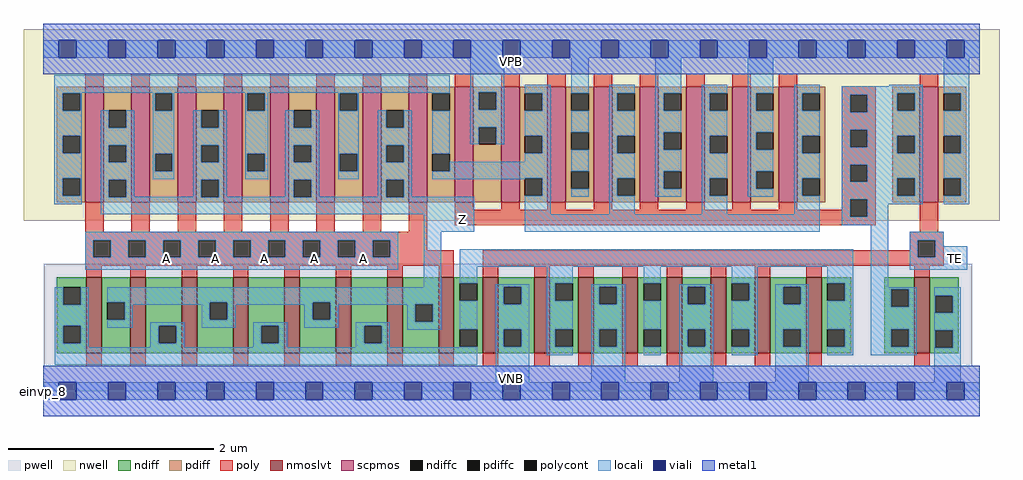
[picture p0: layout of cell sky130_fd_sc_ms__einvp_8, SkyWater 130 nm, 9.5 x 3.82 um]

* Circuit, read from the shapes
.subckt sky130_fd_sc_ms__einvp_8 A TE VGND VNB VPB VPWR Z
XM1 Z A n1 VNB sky130_fd_pr__nfet_01v8_lvt w=0.74 l=0.15 m=8
XM2 VGND TE n1 VNB sky130_fd_pr__nfet_01v8_lvt w=0.74 l=0.15 m=8
XM3 VGND TE n2 VNB sky130_fd_pr__nfet_01v8_lvt w=0.74 l=0.15
XM4 Z A n3 VPB sky130_fd_pr__pfet_01v8 w=1.12 l=0.18 m=8
XM5 VPWR n2 n3 VPB sky130_fd_pr__pfet_01v8 w=1.12 l=0.18 m=8
XM6 VPWR TE n2 VPB sky130_fd_pr__pfet_01v8 w=1.12 l=0.18
.ends

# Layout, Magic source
magic
tech sky130A
magscale 1 2
<< nwell >>
rect -38 332 1862 704
<< pwell >>
rect 1 49 1809 248
rect 0 0 1824 49
<< scpmos >>
rect 82 368 118 592
rect 172 368 208 592
rect 262 368 298 592
rect 352 368 388 592
rect 442 368 478 592
rect 532 368 568 592
rect 622 368 658 592
rect 712 368 748 592
rect 802 368 838 592
rect 892 368 928 592
rect 982 368 1018 592
rect 1072 368 1108 592
rect 1162 368 1198 592
rect 1252 368 1288 592
rect 1342 368 1378 592
rect 1432 368 1468 592
rect 1707 368 1743 592
<< nmoslvt >>
rect 84 74 114 222
rect 170 74 200 222
rect 270 74 300 222
rect 370 74 400 222
rect 470 74 500 222
rect 570 74 600 222
rect 670 74 700 222
rect 770 74 800 222
rect 856 74 886 222
rect 956 74 986 222
rect 1042 74 1072 222
rect 1128 74 1158 222
rect 1214 74 1244 222
rect 1300 74 1330 222
rect 1386 74 1416 222
rect 1486 74 1516 222
rect 1696 74 1726 222
<< ndiff >>
rect 27 202 84 222
rect 27 168 39 202
rect 73 168 84 202
rect 27 127 84 168
rect 27 93 39 127
rect 73 93 84 127
rect 27 74 84 93
rect 114 173 170 222
rect 114 139 125 173
rect 159 139 170 173
rect 114 74 170 139
rect 200 127 270 222
rect 200 93 225 127
rect 259 93 270 127
rect 200 74 270 93
rect 300 173 370 222
rect 300 139 325 173
rect 359 139 370 173
rect 300 74 370 139
rect 400 127 470 222
rect 400 93 425 127
rect 459 93 470 127
rect 400 74 470 93
rect 500 173 570 222
rect 500 139 525 173
rect 559 139 570 173
rect 500 74 570 139
rect 600 127 670 222
rect 600 93 625 127
rect 659 93 670 127
rect 600 74 670 93
rect 700 169 770 222
rect 700 135 725 169
rect 759 135 770 169
rect 700 74 770 135
rect 800 210 856 222
rect 800 176 811 210
rect 845 176 856 210
rect 800 120 856 176
rect 800 86 811 120
rect 845 86 856 120
rect 800 74 856 86
rect 886 203 956 222
rect 886 169 897 203
rect 931 169 956 203
rect 886 120 956 169
rect 886 86 897 120
rect 931 86 956 120
rect 886 74 956 86
rect 986 210 1042 222
rect 986 176 997 210
rect 1031 176 1042 210
rect 986 120 1042 176
rect 986 86 997 120
rect 1031 86 1042 120
rect 986 74 1042 86
rect 1072 203 1128 222
rect 1072 169 1083 203
rect 1117 169 1128 203
rect 1072 120 1128 169
rect 1072 86 1083 120
rect 1117 86 1128 120
rect 1072 74 1128 86
rect 1158 210 1214 222
rect 1158 176 1169 210
rect 1203 176 1214 210
rect 1158 120 1214 176
rect 1158 86 1169 120
rect 1203 86 1214 120
rect 1158 74 1214 86
rect 1244 203 1300 222
rect 1244 169 1255 203
rect 1289 169 1300 203
rect 1244 120 1300 169
rect 1244 86 1255 120
rect 1289 86 1300 120
rect 1244 74 1300 86
rect 1330 210 1386 222
rect 1330 176 1341 210
rect 1375 176 1386 210
rect 1330 120 1386 176
rect 1330 86 1341 120
rect 1375 86 1386 120
rect 1330 74 1386 86
rect 1416 203 1486 222
rect 1416 169 1441 203
rect 1475 169 1486 203
rect 1416 120 1486 169
rect 1416 86 1441 120
rect 1475 86 1486 120
rect 1416 74 1486 86
rect 1516 210 1573 222
rect 1516 176 1527 210
rect 1561 176 1573 210
rect 1516 120 1573 176
rect 1516 86 1527 120
rect 1561 86 1573 120
rect 1516 74 1573 86
rect 1638 198 1696 222
rect 1638 164 1651 198
rect 1685 164 1696 198
rect 1638 120 1696 164
rect 1638 86 1651 120
rect 1685 86 1696 120
rect 1638 74 1696 86
rect 1726 186 1783 222
rect 1726 152 1737 186
rect 1771 152 1783 186
rect 1726 118 1783 152
rect 1726 84 1737 118
rect 1771 84 1783 118
rect 1726 74 1783 84
<< pdiff >>
rect 27 580 82 592
rect 27 546 38 580
rect 72 546 82 580
rect 27 497 82 546
rect 27 463 38 497
rect 72 463 82 497
rect 27 414 82 463
rect 27 380 38 414
rect 72 380 82 414
rect 27 368 82 380
rect 118 547 172 592
rect 118 513 128 547
rect 162 513 172 547
rect 118 479 172 513
rect 118 445 128 479
rect 162 445 172 479
rect 118 411 172 445
rect 118 377 128 411
rect 162 377 172 411
rect 118 368 172 377
rect 208 580 262 592
rect 208 546 218 580
rect 252 546 262 580
rect 208 462 262 546
rect 208 428 218 462
rect 252 428 262 462
rect 208 368 262 428
rect 298 547 352 592
rect 298 513 308 547
rect 342 513 352 547
rect 298 479 352 513
rect 298 445 308 479
rect 342 445 352 479
rect 298 411 352 445
rect 298 377 308 411
rect 342 377 352 411
rect 298 368 352 377
rect 388 580 442 592
rect 388 546 398 580
rect 432 546 442 580
rect 388 462 442 546
rect 388 428 398 462
rect 432 428 442 462
rect 388 368 442 428
rect 478 547 532 592
rect 478 513 488 547
rect 522 513 532 547
rect 478 479 532 513
rect 478 445 488 479
rect 522 445 532 479
rect 478 411 532 445
rect 478 377 488 411
rect 522 377 532 411
rect 478 368 532 377
rect 568 580 622 592
rect 568 546 578 580
rect 612 546 622 580
rect 568 462 622 546
rect 568 428 578 462
rect 612 428 622 462
rect 568 368 622 428
rect 658 547 712 592
rect 658 513 668 547
rect 702 513 712 547
rect 658 479 712 513
rect 658 445 668 479
rect 702 445 712 479
rect 658 411 712 445
rect 658 377 668 411
rect 702 377 712 411
rect 658 368 712 377
rect 748 580 802 592
rect 748 546 758 580
rect 792 546 802 580
rect 748 462 802 546
rect 748 428 758 462
rect 792 428 802 462
rect 748 368 802 428
rect 838 582 892 592
rect 838 548 848 582
rect 882 548 892 582
rect 838 514 892 548
rect 838 480 848 514
rect 882 480 892 514
rect 838 368 892 480
rect 928 580 982 592
rect 928 546 938 580
rect 972 546 982 580
rect 928 497 982 546
rect 928 463 938 497
rect 972 463 982 497
rect 928 414 982 463
rect 928 380 938 414
rect 972 380 982 414
rect 928 368 982 380
rect 1018 580 1072 592
rect 1018 546 1028 580
rect 1062 546 1072 580
rect 1018 504 1072 546
rect 1018 470 1028 504
rect 1062 470 1072 504
rect 1018 428 1072 470
rect 1018 394 1028 428
rect 1062 394 1072 428
rect 1018 368 1072 394
rect 1108 580 1162 592
rect 1108 546 1118 580
rect 1152 546 1162 580
rect 1108 497 1162 546
rect 1108 463 1118 497
rect 1152 463 1162 497
rect 1108 414 1162 463
rect 1108 380 1118 414
rect 1152 380 1162 414
rect 1108 368 1162 380
rect 1198 580 1252 592
rect 1198 546 1208 580
rect 1242 546 1252 580
rect 1198 504 1252 546
rect 1198 470 1208 504
rect 1242 470 1252 504
rect 1198 428 1252 470
rect 1198 394 1208 428
rect 1242 394 1252 428
rect 1198 368 1252 394
rect 1288 580 1342 592
rect 1288 546 1298 580
rect 1332 546 1342 580
rect 1288 497 1342 546
rect 1288 463 1298 497
rect 1332 463 1342 497
rect 1288 414 1342 463
rect 1288 380 1298 414
rect 1332 380 1342 414
rect 1288 368 1342 380
rect 1378 580 1432 592
rect 1378 546 1388 580
rect 1422 546 1432 580
rect 1378 504 1432 546
rect 1378 470 1388 504
rect 1422 470 1432 504
rect 1378 428 1432 470
rect 1378 394 1388 428
rect 1422 394 1432 428
rect 1378 368 1432 394
rect 1468 580 1523 592
rect 1468 546 1478 580
rect 1512 546 1523 580
rect 1468 497 1523 546
rect 1468 463 1478 497
rect 1512 463 1523 497
rect 1468 414 1523 463
rect 1468 380 1478 414
rect 1512 380 1523 414
rect 1468 368 1523 380
rect 1653 580 1707 592
rect 1653 546 1663 580
rect 1697 546 1707 580
rect 1653 497 1707 546
rect 1653 463 1663 497
rect 1697 463 1707 497
rect 1653 414 1707 463
rect 1653 380 1663 414
rect 1697 380 1707 414
rect 1653 368 1707 380
rect 1743 580 1797 592
rect 1743 546 1753 580
rect 1787 546 1797 580
rect 1743 497 1797 546
rect 1743 463 1753 497
rect 1787 463 1797 497
rect 1743 414 1797 463
rect 1743 380 1753 414
rect 1787 380 1797 414
rect 1743 368 1797 380
<< ndiffc >>
rect 39 168 73 202
rect 39 93 73 127
rect 125 139 159 173
rect 225 93 259 127
rect 325 139 359 173
rect 425 93 459 127
rect 525 139 559 173
rect 625 93 659 127
rect 725 135 759 169
rect 811 176 845 210
rect 811 86 845 120
rect 897 169 931 203
rect 897 86 931 120
rect 997 176 1031 210
rect 997 86 1031 120
rect 1083 169 1117 203
rect 1083 86 1117 120
rect 1169 176 1203 210
rect 1169 86 1203 120
rect 1255 169 1289 203
rect 1255 86 1289 120
rect 1341 176 1375 210
rect 1341 86 1375 120
rect 1441 169 1475 203
rect 1441 86 1475 120
rect 1527 176 1561 210
rect 1527 86 1561 120
rect 1651 164 1685 198
rect 1651 86 1685 120
rect 1737 152 1771 186
rect 1737 84 1771 118
<< pdiffc >>
rect 38 546 72 580
rect 38 463 72 497
rect 38 380 72 414
rect 128 513 162 547
rect 128 445 162 479
rect 128 377 162 411
rect 218 546 252 580
rect 218 428 252 462
rect 308 513 342 547
rect 308 445 342 479
rect 308 377 342 411
rect 398 546 432 580
rect 398 428 432 462
rect 488 513 522 547
rect 488 445 522 479
rect 488 377 522 411
rect 578 546 612 580
rect 578 428 612 462
rect 668 513 702 547
rect 668 445 702 479
rect 668 377 702 411
rect 758 546 792 580
rect 758 428 792 462
rect 848 548 882 582
rect 848 480 882 514
rect 938 546 972 580
rect 938 463 972 497
rect 938 380 972 414
rect 1028 546 1062 580
rect 1028 470 1062 504
rect 1028 394 1062 428
rect 1118 546 1152 580
rect 1118 463 1152 497
rect 1118 380 1152 414
rect 1208 546 1242 580
rect 1208 470 1242 504
rect 1208 394 1242 428
rect 1298 546 1332 580
rect 1298 463 1332 497
rect 1298 380 1332 414
rect 1388 546 1422 580
rect 1388 470 1422 504
rect 1388 394 1422 428
rect 1478 546 1512 580
rect 1478 463 1512 497
rect 1478 380 1512 414
rect 1663 546 1697 580
rect 1663 463 1697 497
rect 1663 380 1697 414
rect 1753 546 1787 580
rect 1753 463 1787 497
rect 1753 380 1787 414
<< poly >>
rect 82 592 118 618
rect 172 592 208 618
rect 262 592 298 618
rect 352 592 388 618
rect 442 592 478 618
rect 532 592 568 618
rect 622 592 658 618
rect 712 592 748 618
rect 802 592 838 618
rect 892 592 928 618
rect 982 592 1018 618
rect 1072 592 1108 618
rect 1162 592 1198 618
rect 1252 592 1288 618
rect 1342 592 1378 618
rect 1432 592 1468 618
rect 1555 577 1621 593
rect 1707 592 1743 618
rect 1555 543 1571 577
rect 1605 543 1621 577
rect 1555 509 1621 543
rect 1555 475 1571 509
rect 1605 475 1621 509
rect 1555 441 1621 475
rect 1555 407 1571 441
rect 1605 407 1621 441
rect 1555 373 1621 407
rect 82 310 118 368
rect 172 310 208 368
rect 262 310 298 368
rect 352 310 388 368
rect 442 310 478 368
rect 532 310 568 368
rect 622 310 658 368
rect 712 310 748 368
rect 802 353 838 368
rect 892 353 928 368
rect 982 353 1018 368
rect 1072 353 1108 368
rect 1162 353 1198 368
rect 1252 353 1288 368
rect 1342 353 1378 368
rect 1432 353 1468 368
rect 1555 353 1571 373
rect 802 339 1571 353
rect 1605 339 1621 373
rect 802 323 1621 339
rect 1707 310 1743 368
rect 82 294 748 310
rect 82 260 98 294
rect 132 260 166 294
rect 200 260 234 294
rect 268 260 302 294
rect 336 260 370 294
rect 404 260 438 294
rect 472 260 506 294
rect 540 260 574 294
rect 608 260 642 294
rect 676 274 748 294
rect 1687 294 1753 310
rect 1687 274 1703 294
rect 676 260 800 274
rect 82 244 800 260
rect 84 222 114 244
rect 170 222 200 244
rect 270 222 300 244
rect 370 222 400 244
rect 470 222 500 244
rect 570 222 600 244
rect 670 222 700 244
rect 770 222 800 244
rect 856 260 1703 274
rect 1737 260 1753 294
rect 856 244 1753 260
rect 856 222 886 244
rect 956 222 986 244
rect 1042 222 1072 244
rect 1128 222 1158 244
rect 1214 222 1244 244
rect 1300 222 1330 244
rect 1386 222 1416 244
rect 1486 222 1516 244
rect 1696 222 1726 244
rect 84 48 114 74
rect 170 48 200 74
rect 270 48 300 74
rect 370 48 400 74
rect 470 48 500 74
rect 570 48 600 74
rect 670 48 700 74
rect 770 48 800 74
rect 856 48 886 74
rect 956 48 986 74
rect 1042 48 1072 74
rect 1128 48 1158 74
rect 1214 48 1244 74
rect 1300 48 1330 74
rect 1386 48 1416 74
rect 1486 48 1516 74
rect 1696 48 1726 74
<< polycont >>
rect 1571 543 1605 577
rect 1571 475 1605 509
rect 1571 407 1605 441
rect 1571 339 1605 373
rect 98 260 132 294
rect 166 260 200 294
rect 234 260 268 294
rect 302 260 336 294
rect 370 260 404 294
rect 438 260 472 294
rect 506 260 540 294
rect 574 260 608 294
rect 642 260 676 294
rect 1703 260 1737 294
<< locali >>
rect 0 649 31 683
rect 65 649 127 683
rect 161 649 223 683
rect 257 649 319 683
rect 353 649 415 683
rect 449 649 511 683
rect 545 649 607 683
rect 641 649 703 683
rect 737 649 799 683
rect 833 649 895 683
rect 929 649 991 683
rect 1025 649 1087 683
rect 1121 649 1183 683
rect 1217 649 1279 683
rect 1313 649 1375 683
rect 1409 649 1471 683
rect 1505 649 1567 683
rect 1601 649 1663 683
rect 1697 649 1759 683
rect 1793 649 1824 683
rect 22 581 792 615
rect 22 580 75 581
rect 22 546 38 580
rect 72 546 75 580
rect 214 580 255 581
rect 22 497 75 546
rect 22 463 38 497
rect 72 463 75 497
rect 22 414 75 463
rect 22 380 38 414
rect 72 380 75 414
rect 22 364 75 380
rect 112 513 128 547
rect 162 513 178 547
rect 112 479 178 513
rect 112 445 128 479
rect 162 445 178 479
rect 112 411 178 445
rect 214 546 218 580
rect 252 546 255 580
rect 394 580 438 581
rect 214 462 255 546
rect 214 428 218 462
rect 252 428 255 462
rect 214 412 255 428
rect 292 513 308 547
rect 342 513 358 547
rect 292 479 358 513
rect 292 445 308 479
rect 342 445 358 479
rect 112 377 128 411
rect 162 378 178 411
rect 292 411 358 445
rect 394 546 398 580
rect 432 546 438 580
rect 575 580 615 581
rect 394 462 438 546
rect 394 428 398 462
rect 432 428 438 462
rect 394 412 438 428
rect 472 513 488 547
rect 522 513 538 547
rect 472 479 538 513
rect 472 445 488 479
rect 522 445 538 479
rect 292 378 308 411
rect 162 377 308 378
rect 342 378 358 411
rect 472 411 538 445
rect 575 546 578 580
rect 612 546 615 580
rect 758 580 792 581
rect 575 462 615 546
rect 575 428 578 462
rect 612 428 615 462
rect 575 412 615 428
rect 652 513 668 547
rect 702 513 718 547
rect 652 479 718 513
rect 652 445 668 479
rect 702 445 718 479
rect 472 378 488 411
rect 342 377 488 378
rect 522 378 538 411
rect 652 411 718 445
rect 758 462 792 546
rect 832 582 898 649
rect 832 548 848 582
rect 882 548 898 582
rect 832 514 898 548
rect 832 480 848 514
rect 882 480 898 514
rect 938 580 988 596
rect 972 546 988 580
rect 938 497 988 546
rect 972 463 988 497
rect 938 446 988 463
rect 792 428 988 446
rect 758 414 988 428
rect 758 412 938 414
rect 652 378 668 411
rect 522 377 668 378
rect 702 378 718 411
rect 972 380 988 414
rect 702 377 839 378
rect 112 344 839 377
rect 741 310 839 344
rect 938 344 988 380
rect 1028 580 1062 649
rect 1028 504 1062 546
rect 1028 428 1062 470
rect 1028 378 1062 394
rect 1102 580 1152 596
rect 1102 546 1118 580
rect 1102 497 1152 546
rect 1102 463 1118 497
rect 1102 414 1152 463
rect 1102 380 1118 414
rect 1102 344 1152 380
rect 1192 580 1242 649
rect 1192 546 1208 580
rect 1192 504 1242 546
rect 1192 470 1208 504
rect 1192 428 1242 470
rect 1192 394 1208 428
rect 1192 378 1242 394
rect 1282 580 1332 596
rect 1282 546 1298 580
rect 1282 497 1332 546
rect 1282 463 1298 497
rect 1282 414 1332 463
rect 1282 380 1298 414
rect 1282 344 1332 380
rect 1372 580 1422 649
rect 1372 546 1388 580
rect 1372 504 1422 546
rect 1372 470 1388 504
rect 1372 428 1422 470
rect 1372 394 1388 428
rect 1372 378 1422 394
rect 1462 580 1512 596
rect 1647 593 1713 596
rect 1462 546 1478 580
rect 1462 497 1512 546
rect 1462 463 1478 497
rect 1462 414 1512 463
rect 1462 380 1478 414
rect 1462 344 1512 380
rect 938 310 1512 344
rect 1555 580 1713 593
rect 1555 577 1663 580
rect 1555 543 1571 577
rect 1605 546 1663 577
rect 1697 546 1713 580
rect 1605 543 1713 546
rect 1555 509 1713 543
rect 1555 475 1571 509
rect 1605 497 1713 509
rect 1605 475 1663 497
rect 1555 463 1663 475
rect 1697 463 1713 497
rect 1555 441 1713 463
rect 1555 407 1571 441
rect 1605 414 1713 441
rect 1605 407 1663 414
rect 1555 380 1663 407
rect 1697 380 1713 414
rect 1555 373 1713 380
rect 1555 339 1571 373
rect 1605 364 1713 373
rect 1753 580 1803 649
rect 1787 546 1803 580
rect 1753 497 1803 546
rect 1787 463 1803 497
rect 1753 414 1803 463
rect 1787 380 1803 414
rect 1753 364 1803 380
rect 1605 339 1645 364
rect 1555 323 1645 339
rect 82 294 692 310
rect 82 260 98 294
rect 132 260 166 294
rect 200 260 234 294
rect 268 260 302 294
rect 336 260 370 294
rect 404 260 438 294
rect 472 260 506 294
rect 540 260 574 294
rect 608 260 642 294
rect 676 260 692 294
rect 82 236 692 260
rect 741 202 775 310
rect 23 168 39 202
rect 73 168 89 202
rect 23 127 89 168
rect 23 93 39 127
rect 73 93 89 127
rect 125 173 775 202
rect 159 168 325 173
rect 159 139 175 168
rect 125 123 175 139
rect 309 139 325 168
rect 359 168 525 173
rect 359 139 375 168
rect 209 127 275 134
rect 23 85 89 93
rect 209 93 225 127
rect 259 93 275 127
rect 309 123 375 139
rect 509 139 525 168
rect 559 169 775 173
rect 559 168 725 169
rect 559 139 575 168
rect 409 127 475 134
rect 209 85 275 93
rect 409 93 425 127
rect 459 93 475 127
rect 509 123 575 139
rect 709 135 725 168
rect 759 135 775 169
rect 609 127 675 134
rect 409 85 475 93
rect 609 93 625 127
rect 659 93 675 127
rect 709 119 775 135
rect 811 242 1577 276
rect 811 210 845 242
rect 981 210 1031 242
rect 811 120 845 176
rect 609 85 675 93
rect 811 85 845 86
rect 23 51 845 85
rect 881 203 947 208
rect 881 169 897 203
rect 931 169 947 203
rect 881 120 947 169
rect 881 86 897 120
rect 931 86 947 120
rect 881 17 947 86
rect 981 176 997 210
rect 1169 210 1203 242
rect 981 120 1031 176
rect 981 86 997 120
rect 981 70 1031 86
rect 1067 203 1133 208
rect 1067 169 1083 203
rect 1117 169 1133 203
rect 1067 120 1133 169
rect 1067 86 1083 120
rect 1117 86 1133 120
rect 1067 17 1133 86
rect 1341 210 1391 242
rect 1169 120 1203 176
rect 1169 70 1203 86
rect 1239 203 1305 208
rect 1239 169 1255 203
rect 1289 169 1305 203
rect 1239 120 1305 169
rect 1239 86 1255 120
rect 1289 86 1305 120
rect 1239 17 1305 86
rect 1375 176 1391 210
rect 1527 210 1577 242
rect 1341 120 1391 176
rect 1375 86 1391 120
rect 1341 70 1391 86
rect 1425 203 1491 208
rect 1425 169 1441 203
rect 1475 169 1491 203
rect 1425 120 1491 169
rect 1425 86 1441 120
rect 1475 86 1491 120
rect 1425 17 1491 86
rect 1561 176 1577 210
rect 1527 120 1577 176
rect 1561 86 1577 120
rect 1527 70 1577 86
rect 1611 202 1645 323
rect 1687 294 1753 310
rect 1687 260 1703 294
rect 1737 282 1753 294
rect 1737 260 1799 282
rect 1687 236 1799 260
rect 1611 198 1701 202
rect 1611 164 1651 198
rect 1685 164 1701 198
rect 1611 120 1701 164
rect 1611 86 1651 120
rect 1685 86 1701 120
rect 1611 70 1701 86
rect 1735 186 1787 202
rect 1735 152 1737 186
rect 1771 152 1787 186
rect 1735 118 1787 152
rect 1735 84 1737 118
rect 1771 84 1787 118
rect 1735 17 1787 84
rect 0 -17 31 17
rect 65 -17 127 17
rect 161 -17 223 17
rect 257 -17 319 17
rect 353 -17 415 17
rect 449 -17 511 17
rect 545 -17 607 17
rect 641 -17 703 17
rect 737 -17 799 17
rect 833 -17 895 17
rect 929 -17 991 17
rect 1025 -17 1087 17
rect 1121 -17 1183 17
rect 1217 -17 1279 17
rect 1313 -17 1375 17
rect 1409 -17 1471 17
rect 1505 -17 1567 17
rect 1601 -17 1663 17
rect 1697 -17 1759 17
rect 1793 -17 1824 17
<< viali >>
rect 31 649 65 683
rect 127 649 161 683
rect 223 649 257 683
rect 319 649 353 683
rect 415 649 449 683
rect 511 649 545 683
rect 607 649 641 683
rect 703 649 737 683
rect 799 649 833 683
rect 895 649 929 683
rect 991 649 1025 683
rect 1087 649 1121 683
rect 1183 649 1217 683
rect 1279 649 1313 683
rect 1375 649 1409 683
rect 1471 649 1505 683
rect 1567 649 1601 683
rect 1663 649 1697 683
rect 1759 649 1793 683
rect 31 -17 65 17
rect 127 -17 161 17
rect 223 -17 257 17
rect 319 -17 353 17
rect 415 -17 449 17
rect 511 -17 545 17
rect 607 -17 641 17
rect 703 -17 737 17
rect 799 -17 833 17
rect 895 -17 929 17
rect 991 -17 1025 17
rect 1087 -17 1121 17
rect 1183 -17 1217 17
rect 1279 -17 1313 17
rect 1375 -17 1409 17
rect 1471 -17 1505 17
rect 1567 -17 1601 17
rect 1663 -17 1697 17
rect 1759 -17 1793 17
<< metal1 >>
rect 0 683 1824 715
rect 0 649 31 683
rect 65 649 127 683
rect 161 649 223 683
rect 257 649 319 683
rect 353 649 415 683
rect 449 649 511 683
rect 545 649 607 683
rect 641 649 703 683
rect 737 649 799 683
rect 833 649 895 683
rect 929 649 991 683
rect 1025 649 1087 683
rect 1121 649 1183 683
rect 1217 649 1279 683
rect 1313 649 1375 683
rect 1409 649 1471 683
rect 1505 649 1567 683
rect 1601 649 1663 683
rect 1697 649 1759 683
rect 1793 649 1824 683
rect 0 617 1824 649
rect 0 17 1824 49
rect 0 -17 31 17
rect 65 -17 127 17
rect 161 -17 223 17
rect 257 -17 319 17
rect 353 -17 415 17
rect 449 -17 511 17
rect 545 -17 607 17
rect 641 -17 703 17
rect 737 -17 799 17
rect 833 -17 895 17
rect 929 -17 991 17
rect 1025 -17 1087 17
rect 1121 -17 1183 17
rect 1217 -17 1279 17
rect 1313 -17 1375 17
rect 1409 -17 1471 17
rect 1505 -17 1567 17
rect 1601 -17 1663 17
rect 1697 -17 1759 17
rect 1793 -17 1824 17
rect 0 -49 1824 -17
<< labels >>
flabel pwell s 0 0 1824 49 0 FreeSans 200 0 0 0 VNB
port 4 nsew ground bidirectional
flabel nwell s 0 617 1824 666 0 FreeSans 200 0 0 0 VPB
port 5 nsew power bidirectional
rlabel comment s 0 0 0 0 4 einvp_8
flabel metal1 s 0 617 1824 666 0 FreeSans 340 0 0 0 VPWR
port 6 nsew power bidirectional
flabel metal1 s 0 0 1824 49 0 FreeSans 340 0 0 0 VGND
port 3 nsew ground bidirectional
flabel locali s 799 316 833 350 0 FreeSans 340 0 0 0 Z
port 7 nsew signal output
flabel locali s 1759 242 1793 276 0 FreeSans 340 0 0 0 TE
port 2 nsew signal input
flabel locali s 223 242 257 276 0 FreeSans 340 0 0 0 A
port 1 nsew signal input
flabel locali s 319 242 353 276 0 FreeSans 340 0 0 0 A
port 1 nsew signal input
flabel locali s 415 242 449 276 0 FreeSans 340 0 0 0 A
port 1 nsew signal input
flabel locali s 511 242 545 276 0 FreeSans 340 0 0 0 A
port 1 nsew signal input
flabel locali s 607 242 641 276 0 FreeSans 340 0 0 0 A
port 1 nsew signal input
<< properties >>
string LEFsite unit
string LEFclass CORE
string FIXED_BBOX 0 0 1824 666
string GDS_FILE $PDKPATH/libs.ref/sky130_fd_sc_ms/gds/sky130_fd_sc_ms.gds
string LEFsymmetry X Y
string GDS_END 1978718
string GDS_START 1964702
<< end >>
